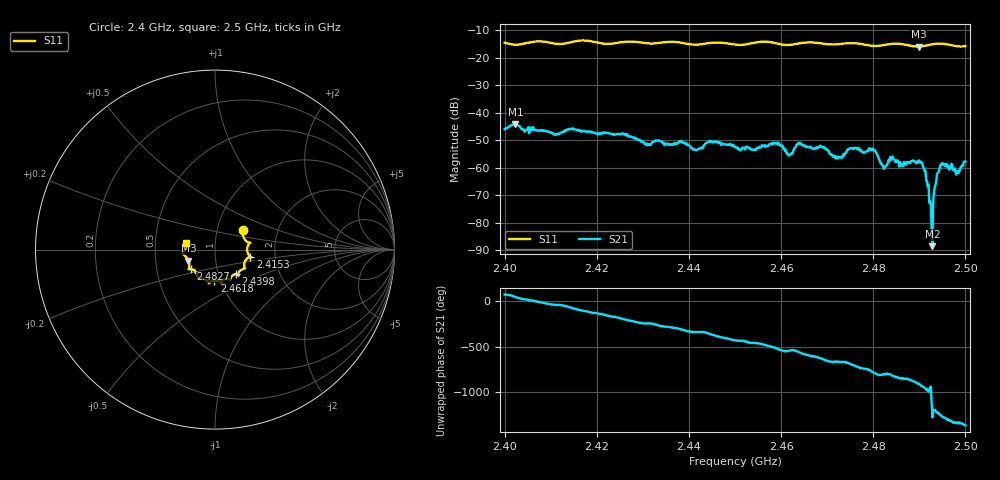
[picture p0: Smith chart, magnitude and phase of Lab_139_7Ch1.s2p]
# Hz S RI R 50
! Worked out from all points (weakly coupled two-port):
!   601 points, 2.4 GHz to 2.5 GHz, reference 50 ohm
!   highest |S21| = -44.01 dB at 2.4023 GHz (marker M1); lowest = -88.5 dB at 2.4928 GHz (marker M2)
!   lowest |S11| = -15.9 dB at 2.4898 GHz (marker M3), VSWR 1.38, Z = 36.9 - j4.61 ohm
!   |S11| at or under -10 dB: start of sweep to end of sweep
!   S12 and S22 are empty: the file has one direction only
!   S11 on the Smith chart (normalised r, x): 2.4 GHz: 1.33, +0.29; 2.4153 GHz: 1.48, -0.12; 2.4398 GHz: 1.21, -0.34; 2.4618 GHz: 0.94, -0.33; 2.4827 GHz: 0.75, -0.17; 2.5 GHz: 0.72, +0.06
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2.4e9  0.1549 0.1069  0.00136 0.00486  0 0  0 0
2.402333e9  0.159 0.0691  0.00425 0.00466  0 0  0 0
2.415333e9  0.1967 -0.0392  0.00058 -0.00494  0 0  0 0
2.416667e9  0.2026 -0.0432  -0.000804 -0.00442  0 0  0 0
2.433333e9  0.1301 -0.1338  -0.000317 0.00315  0 0  0 0
2.439833e9  0.1157 -0.1363  0.00229 0.00133  0 0  0 0
2.45e9  0.0648 -0.162  0.000836 -0.00223  0 0  0 0
2.458833e9  0.0322 -0.1823  -0.00257 -0.0012  0 0  0 0
2.461833e9  -0.00305 -0.1722  -0.00168 8.26e-05  0 0  0 0
2.463833e9  -0.0263 -0.1811  -0.00271 0.00093  0 0  0 0
2.466667e9  -0.0342 -0.188  -0.000878 0.00213  0 0  0 0
2.472333e9  -0.074 -0.1607  0.000859 0.0012  0 0  0 0
2.479667e9  -0.1074 -0.1262  0.00129 -0.00169  0 0  0 0
2.482667e9  -0.1349 -0.1086  0.000222 -0.00104  0 0  0 0
2.483333e9  -0.14 -0.1084  0.000262 -0.00137  0 0  0 0
2.489833e9  -0.1481 -0.0609  -0.00128 0.000107  0 0  0 0
2.490833e9  -0.1564 -0.0473  -0.000828 0.000631  0 0  0 0
2.492333e9  -0.1708 -0.0312  -0.000131 0.000213  0 0  0 0
2.492833e9  -0.1748 -0.0276  -3.62e-05 1.02e-05  0 0  0 0
2.494833e9  -0.1803 -0.0201  -0.00115 5.06e-05  0 0  0 0
2.498333e9  -0.1619 0.00969  -0.000224 0.000842  0 0  0 0
2.5e9  -0.1591 0.0383  0.000336 0.00127  0 0  0 0
